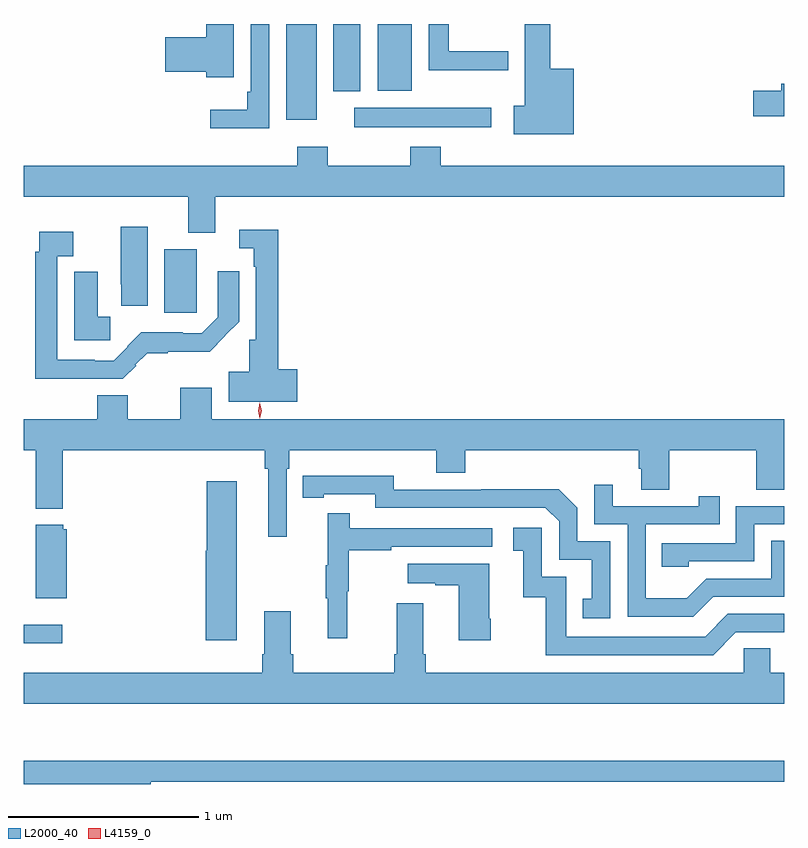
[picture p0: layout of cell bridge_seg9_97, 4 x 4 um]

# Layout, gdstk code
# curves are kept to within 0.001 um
import gdstk
lib = gdstk.Library(unit=1e-6, precision=1e-09)
def R(c, l, rs):  # rectangles x0, y0, x1, y1
    for r in rs: c.add(gdstk.rectangle(r[:2], r[2:], *l))
def P(c, l, *ps):  # polygons
    for p in ps: c.add(gdstk.Polygon(p, *l))
L2000_40 = (2000, 40)
L4159_0 = (4159, 0)

bridge_seg9_97 = lib.new_cell('bridge_seg9_97')
R(bridge_seg9_97, L2000_40, [(758.015,1216.718,758.218,1216.816), (758.756,1218.456,758.926,1218.79), (759.753,1219.43,760.474,1219.534), (759.395,1219.47,759.556,1219.973), (759.644,1219.619,759.784,1219.973), (759.878,1219.622,760.057,1219.973)])
P(bridge_seg9_97, L2000_40, [(759.121,1219.973),(758.975,1219.973),(758.975,1219.904),(758.76,1219.904),(758.76,1219.721),(758.975,1219.721),(758.975,1219.694),(759.121,1219.694)],
  [(760.906,1219.738),(760.784,1219.738),(760.784,1219.973),(760.649,1219.973),(760.649,1219.544),(760.593,1219.544),(760.593,1219.394),(760.906,1219.394)],
  [(760.564,1219.83),(760.249,1219.83),(760.249,1219.973),(760.145,1219.973),(760.145,1219.73),(760.564,1219.73)],
  [(759.306,1219.973),(759.21,1219.973),(759.21,1219.618),(759.19,1219.618),(759.19,1219.522),(758.997,1219.522),(758.997,1219.424),(759.306,1219.424)],
  [(762.015,1219.658),(761.999,1219.658),(761.999,1219.622),(761.85,1219.622),(761.85,1219.487),(762.015,1219.487)],
  [(759.022,1219.064),(762.015,1219.064),(762.015,1219.228),(760.208,1219.228),(760.208,1219.327),(760.048,1219.327),(760.048,1219.228),(759.615,1219.228),(759.615,1219.327),(759.455,1219.327),(759.455,1219.228),(758.015,1219.228),(758.015,1219.064),(758.882,1219.064),(758.882,1218.875),(759.022,1218.875)],
  [(758.668,1218.907),(758.525,1218.907),(758.525,1218.604),(758.529,1218.604),(758.529,1218.492),(758.668,1218.492)],
  [(759.454,1218.158),(759.353,1218.158),(759.353,1218.892),(759.15,1218.892),(759.15,1218.795),(759.225,1218.795),(759.225,1218.698),(759.237,1218.698),(759.237,1218.312),(759.201,1218.312),(759.201,1218.145),(759.093,1218.145),(759.093,1217.987),(759.454,1217.987)],
  [(758.607,1218.177),(758.603,1218.181),(758.665,1218.243),(758.773,1218.243),(758.773,1218.251),(758.993,1218.251),(759.148,1218.408),(759.148,1218.673),(759.036,1218.673),(759.036,1218.432),(758.952,1218.348),(758.852,1218.348),(758.852,1218.353),(758.633,1218.353),(758.559,1218.279),(758.562,1218.276),(758.49,1218.204),(758.39,1218.204),(758.39,1218.208),(758.193,1218.208),(758.193,1218.752),(758.276,1218.752),(758.276,1218.88),(758.097,1218.88),(758.097,1218.776),(758.077,1218.776),(758.077,1218.107),(758.537,1218.107)],
  [(758.472,1218.433),(758.404,1218.433),(758.404,1218.671),(758.282,1218.671),(758.282,1218.31),(758.472,1218.31)],
  [(759.399,1217.636),(759.413,1217.636),(759.413,1217.732),(760.184,1217.732),(760.184,1217.615),(760.337,1217.615),(760.337,1217.732),(761.249,1217.732),(761.249,1217.634),(761.261,1217.634),(761.261,1217.524),(761.409,1217.524),(761.409,1217.732),(761.866,1217.732),(761.866,1217.524),(762.013,1217.524),(762.013,1217.634),(762.015,1217.634),(762.015,1217.896),(759.004,1217.896),(759.004,1218.061),(758.84,1218.061),(758.84,1217.896),(758.563,1217.896),(758.563,1218.022),(758.402,1218.022),(758.402,1217.896),(758.015,1217.896),(758.015,1217.732),(758.078,1217.732),(758.078,1217.426),(758.222,1217.426),(758.222,1217.732),(759.283,1217.732),(759.283,1217.636),(759.302,1217.636),(759.302,1217.277),(759.399,1217.277)],
  [(761.1,1217.253),(760.926,1217.253),(760.926,1217.43),(760.828,1217.528),(760.42,1217.528),(760.42,1217.526),(759.96,1217.526),(759.96,1217.599),(759.484,1217.598),(759.484,1217.482),(759.592,1217.482),(759.592,1217.502),(759.864,1217.502),(759.864,1217.43),(760.758,1217.43),(760.83,1217.358),(760.83,1217.157),(761.003,1217.157),(761.003,1216.953),(760.954,1216.953),(760.954,1216.848),(761.1,1216.848)],
  [(759.136,1217.569),(758.978,1217.569),(758.978,1217.205),(758.972,1217.205),(758.972,1216.734),(759.136,1216.734)],
  [(761.641,1216.962),(762.015,1216.962),(762.015,1217.257),(761.946,1217.257),(761.946,1217.058),(761.604,1217.058),(761.5,1216.954),(761.286,1216.954),(761.286,1217.343),(761.675,1217.343),(761.675,1217.491),(761.564,1217.491),(761.564,1217.439),(761.113,1217.439),(761.113,1217.551),(761.016,1217.551),(761.016,1217.343),(761.19,1217.343),(761.19,1216.857),(761.536,1216.857)],
  [(761.511,1217.148),(761.856,1217.148),(761.856,1217.343),(762.015,1217.343),(762.015,1217.439),(761.76,1217.439),(761.76,1217.244),(761.371,1217.244),(761.371,1217.121),(761.511,1217.121)],
  [(759.716,1216.992),(759.724,1216.992),(759.724,1217.206),(759.947,1217.206),(759.947,1217.226),(760.48,1217.226),(760.48,1217.322),(759.731,1217.322),(759.731,1217.401),(759.614,1217.401),(759.614,1217.129),(759.603,1217.129),(759.603,1216.955),(759.614,1216.955),(759.614,1216.743),(759.716,1216.743)],
  [(758.242,1217.316),(758.223,1217.316),(758.223,1217.341),(758.078,1217.341),(758.078,1216.955),(758.242,1216.955)],
  [(761.76,1216.776),(762.015,1216.776),(762.015,1216.872),(761.718,1216.872),(761.598,1216.752),(760.869,1216.752),(760.869,1217.067),(760.74,1217.067),(760.74,1217.326),(760.59,1217.326),(760.59,1217.205),(760.643,1217.205),(760.643,1216.959),(760.761,1216.959),(760.761,1216.656),(761.64,1216.656)],
  [(760.47,1216.846),(760.462,1216.846),(760.462,1217.137),(760.035,1217.137),(760.035,1217.033),(760.178,1217.033),(760.178,1217.023),(760.304,1217.023),(760.304,1216.734),(760.47,1216.734)],
  [(762.015,1216.564),(761.941,1216.564),(761.941,1216.691),(761.802,1216.691),(761.802,1216.564),(760.13,1216.564),(760.13,1216.66),(760.117,1216.66),(760.117,1216.927),(759.977,1216.927),(759.977,1216.66),(759.965,1216.66),(759.965,1216.564),(759.434,1216.564),(759.434,1216.66),(759.421,1216.66),(759.421,1216.885),(759.281,1216.885),(759.281,1216.66),(759.269,1216.66),(759.269,1216.564),(758.015,1216.564),(758.015,1216.4),(762.015,1216.4)],
  [(758.684,1215.99),(762.015,1215.99),(762.015,1216.099),(758.015,1216.099),(758.015,1215.978),(758.684,1215.978)])
P(bridge_seg9_97, L4159_0, [(759.258,1217.901),(759.258,1217.901),(759.248,1217.941),(759.258,1217.982),(759.258,1217.982),(759.258,1217.982),(759.268,1217.941),(759.258,1217.901)])

lib.write_gds('bridge_seg9_97.gds')
